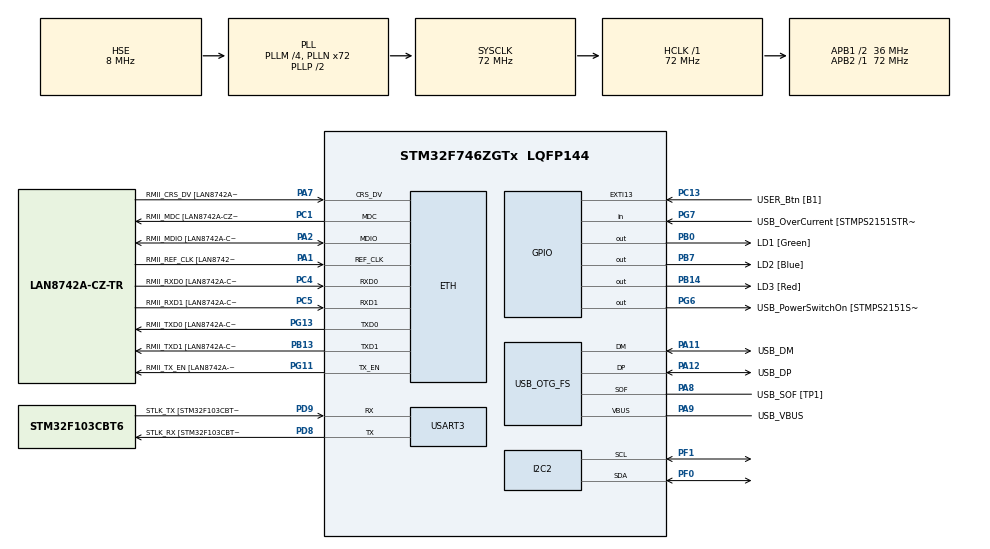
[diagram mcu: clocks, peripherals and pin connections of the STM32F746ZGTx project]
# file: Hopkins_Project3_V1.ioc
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ETH.MediaInterface=HAL_ETH_RMII_MODE
ETH.PHY_Name=LAN8742A_PHY_ADDRESS
ETH.PHY_Value=0
ETH.PhyAddress=0
I2C2.Timing=0x00808CD2
Mcu.Family=STM32F7
Mcu.Name=STM32F746ZGTx
Mcu.Package=LQFP144
NVIC.PriorityGroup=NVIC_PRIORITYGROUP_4
PA1.GPIO_Label=RMII_REF_CLK [LAN8742A-CZ-TR_REFCLK0]
PA1.Mode=RMII
PA1.Signal=ETH_REF_CLK
PA10.GPIO_Label=USB_ID
PA10.Signal=USB_OTG_FS_ID
PA11.GPIO_Label=USB_DM
PA11.Mode=Device_Only
PA11.Signal=USB_OTG_FS_DM
PA12.GPIO_Label=USB_DP
PA12.Mode=Device_Only
PA12.Signal=USB_OTG_FS_DP
PA13.GPIO_Label=TMS
PA13.Mode=Serial_Wire
PA13.Signal=SYS_JTMS-SWDIO
PA14.GPIO_Label=TCK
PA14.Mode=Serial_Wire
PA14.Signal=SYS_JTCK-SWCLK
PA2.GPIO_Label=RMII_MDIO [LAN8742A-CZ-TR_MDIO]
PA2.Mode=RMII
PA2.Signal=ETH_MDIO
PA7.GPIO_Label=RMII_CRS_DV [LAN8742A-CZ-TR_CRS_DV]
PA7.Mode=RMII
PA7.Signal=ETH_CRS_DV
PA8.GPIO_Label=USB_SOF [TP1]
PA8.Mode=Activate_SOF_FS
PA8.Signal=USB_OTG_FS_SOF
PA9.GPIO_Label=USB_VBUS
PA9.Mode=Activate_VBUS
PA9.Signal=USB_OTG_FS_VBUS
PB0.GPIO_Label=LD1 [Green]
PB0.PinState=GPIO_PIN_RESET
PB0.Signal=GPIO_Output
PB13.GPIO_Label=RMII_TXD1 [LAN8742A-CZ-TR_TXD1]
PB13.Mode=RMII
PB13.Signal=ETH_TXD1
PB14.GPIO_Label=LD3 [Red]
PB14.Signal=GPIO_Output
PB3.GPIO_Label=SW0
PB3.Signal=SYS_JTDO-SWO
PB7.GPIO_Label=LD2 [Blue]
PB7.Signal=GPIO_Output
PC1.GPIO_Label=RMII_MDC [LAN8742A-CZ-TR_MDC]
PC1.Mode=RMII
PC1.Signal=ETH_MDC
PC13.GPIO_Label=USER_Btn [B1]
PC13.Signal=GPXTI13
PC14/OSC32_IN.Mode=LSE-External-Oscillator
PC14/OSC32_IN.Signal=RCC_OSC32_IN
PC15/OSC32_OUT.Mode=LSE-External-Oscillator
PC15/OSC32_OUT.Signal=RCC_OSC32_OUT
PC4.GPIO_Label=RMII_RXD0 [LAN8742A-CZ-TR_RXD0]
PC4.Mode=RMII
PC4.Signal=ETH_RXD0
PC5.GPIO_Label=RMII_RXD1 [LAN8742A-CZ-TR_RXD1]
PC5.Mode=RMII
PC5.Signal=ETH_RXD1
PD8.GPIO_Label=STLK_RX [STM32F103CBT6_PA3]
PD8.GPIO_PuPd=GPIO_PULLUP
PD8.Mode=Asynchronous
PD8.Signal=USART3_TX
PD9.GPIO_Label=STLK_TX [STM32F103CBT6_PA2]
PD9.GPIO_PuPd=GPIO_PULLUP
PD9.Mode=Asynchronous
PD9.Signal=USART3_RX
PF0.Mode=I2C
PF0.Signal=I2C2_SDA
PF1.Mode=I2C
PF1.Signal=I2C2_SCL
PG11.GPIO_Label=RMII_TX_EN [LAN8742A-CZ-TR_TXEN]
PG11.Mode=RMII
PG11.Signal=ETH_TX_EN
PG13.GPIO_Label=RMII_TXD0 [LAN8742A-CZ-TR_TXD0]
PG13.Mode=RMII
PG13.Signal=ETH_TXD0
PG6.GPIO_Label=USB_PowerSwitchOn [STMPS2151STR_EN]
PG6.Signal=GPIO_Output
PG7.GPIO_Label=USB_OverCurrent [STMPS2151STR_FAULT]
PG7.Signal=GPIO_Input
PH0/OSC_IN.GPIO_Label=MCO [STM32F103CBT6_PA8]
PH0/OSC_IN.Mode=HSE-External-Clock-Source
PH0/OSC_IN.Signal=RCC_OSC_IN
PH1/OSC_OUT.Mode=HSE-External-Clock-Source
PH1/OSC_OUT.Signal=RCC_OSC_OUT
ProjectManager.HeapSize=0x200
ProjectManager.StackSize=0x400
ProjectManager.TargetToolchain=STM32CubeIDE
RCC.48MHZClocksFreq_Value=24000000
RCC.AHBFreq_Value=72000000
RCC.APB1CLKDivider=RCC_HCLK_DIV2
RCC.APB1Freq_Value=36000000
RCC.APB1TimFreq_Value=72000000
RCC.APB2Freq_Value=72000000
RCC.APB2TimFreq_Value=72000000
RCC.CortexFreq_Value=72000000
RCC.HCLKFreq_Value=72000000
RCC.HSE_VALUE=8000000
RCC.HSI_VALUE=16000000
RCC.PLLM=4
RCC.PLLMUL=RCC_PLL_MUL9
RCC.PLLN=72
RCC.PLLQ=3
RCC.PRESCALERUSB=RCC_USBCLKSOURCE_PLL_DIV1_5
RCC.SYSCLKFreq_VALUE=72000000
RCC.SYSCLKSource=RCC_SYSCLKSOURCE_PLLCLK
RCC.SYSCLKSourceVirtual=RCC_SYSCLKSOURCE_PLLCLK
RCC.USBFreq_Value=48000000
RCC.VCOOutputFreq_Value=144000000
USART3.VirtualMode-Asynchronous=VM_ASYNC
USB_OTG_FS.VirtualMode=Device_Only
board=NUCLEO-F746ZG

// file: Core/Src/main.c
/* USER CODE BEGIN Header */
/**
  ******************************************************************************
  * @file           : main.c
  * @brief          : Main program body
  ******************************************************************************
  * @attention
  *
  * Copyright (c) 2023 STMicroelectronics.
  * All rights reserved.
  *
  * This software is licensed under terms that can be found in the LICENSE file
  * in the root directory of this software component.
  * If no LICENSE file comes with this software, it is provided AS-IS.
  *
  ******************************************************************************
  */
/* USER CODE END Header */
#include "main.h"
#include "string.h"

/* USER CODE BEGIN Includes */
#include "stdio.h"
#include "MPU6050Accelerometer.h"
#include "stm32f7xx_hal.h"
/* USER CODE END Includes */

#if defined ( __ICCARM__ ) /*!< IAR Compiler */
#pragma location=0x2004c000
ETH_DMADescTypeDef  DMARxDscrTab[ETH_RX_DESC_CNT]; /* Ethernet Rx DMA Descriptors */
#pragma location=0x2004c0a0
ETH_DMADescTypeDef  DMATxDscrTab[ETH_TX_DESC_CNT]; /* Ethernet Tx DMA Descriptors */

#elif defined ( __CC_ARM )  /* MDK ARM Compiler */

__attribute__((at(0x2004c000))) ETH_DMADescTypeDef  DMARxDscrTab[ETH_RX_DESC_CNT]; /* Ethernet Rx DMA Descriptors */
__attribute__((at(0x2004c0a0))) ETH_DMADescTypeDef  DMATxDscrTab[ETH_TX_DESC_CNT]; /* Ethernet Tx DMA Descriptors */

#elif defined ( __GNUC__ ) /* GNU Compiler */
ETH_DMADescTypeDef DMARxDscrTab[ETH_RX_DESC_CNT] __attribute__((section(".RxDecripSection"))); /* Ethernet Rx DMA Descriptors */
ETH_DMADescTypeDef DMATxDscrTab[ETH_TX_DESC_CNT] __attribute__((section(".TxDecripSection")));   /* Ethernet Tx DMA Descriptors */

#endif

ETH_TxPacketConfig TxConfig;

ETH_HandleTypeDef heth;

I2C_HandleTypeDef hi2c2;

UART_HandleTypeDef huart3;

PCD_HandleTypeDef hpcd_USB_OTG_FS;

/* USER CODE BEGIN PV */
extern float Ax, Ay, Az, Gx, Gy, Gz;

/* USER CODE END PV */

void SystemClock_Config(void);
static void MX_GPIO_Init(void);
static void MX_ETH_Init(void);
static void MX_USART3_UART_Init(void);
static void MX_USB_OTG_FS_PCD_Init(void);
static void MX_I2C2_Init(void);

int main(void)
{

  /* MCU Configuration--------------------------------------------------------*/

  /* Reset of all peripherals, Initializes the Flash interface and the Systick. */
  HAL_Init();

  /* Configure the system clock */
  SystemClock_Config();

  /* Initialize all configured peripherals */
  MX_GPIO_Init();
  MX_ETH_Init();
  MX_USART3_UART_Init();
  MX_USB_OTG_FS_PCD_Init();
  MX_I2C2_Init();
  /* USER CODE BEGIN 2 */
  /* USER CODE BEGIN 2 */
	MPU6050_init();
	float data[6];
  /* USER CODE END 2 */

  /* Infinite loop */
  /* USER CODE BEGIN WHILE */
  while (1)
  {
      MPU6050_Read_Accel();
	  MPU6050_Read_Gyro();
	  data[0]= Ax;
	  data[1]= Ay;
	  data[2]= Az;
	  data[3]= Gx;
	  data[4]= Gy;
	  data[5]= Gz;
	  HAL_UART_Transmit(&huart3, (uint8_t *)data, sizeof(float)*6, HAL_MAX_DELAY);
	  HAL_Delay(500); // Delay for 1 second
    /* USER CODE END WHILE */

  }
}

void SystemClock_Config(void)
{
  RCC_OscInitTypeDef RCC_OscInitStruct = {0};
  RCC_ClkInitTypeDef RCC_ClkInitStruct = {0};

  /** Configure LSE Drive Capability
  */
  HAL_PWR_EnableBkUpAccess();

  /** Configure the main internal regulator output voltage
  */
  __HAL_RCC_PWR_CLK_ENABLE();
  __HAL_PWR_VOLTAGESCALING_CONFIG(PWR_REGULATOR_VOLTAGE_SCALE3);

  /** Initializes the RCC Oscillators according to the specified parameters
  * in the RCC_OscInitTypeDef structure.
  */
  RCC_OscInitStruct.OscillatorType = RCC_OSCILLATORTYPE_HSE;
  RCC_OscInitStruct.HSEState = RCC_HSE_BYPASS;
  RCC_OscInitStruct.PLL.PLLState = RCC_PLL_ON;
  RCC_OscInitStruct.PLL.PLLSource = RCC_PLLSOURCE_HSE;
  RCC_OscInitStruct.PLL.PLLM = 4;
  RCC_OscInitStruct.PLL.PLLN = 72;
  RCC_OscInitStruct.PLL.PLLP = RCC_PLLP_DIV2;
  RCC_OscInitStruct.PLL.PLLQ = 3;
  if (HAL_RCC_OscConfig(&RCC_OscInitStruct) != HAL_OK)
  {
    Error_Handler();
  }

  /** Initializes the CPU, AHB and APB buses clocks
  */
  RCC_ClkInitStruct.ClockType = RCC_CLOCKTYPE_HCLK|RCC_CLOCKTYPE_SYSCLK
                              |RCC_CLOCKTYPE_PCLK1|RCC_CLOCKTYPE_PCLK2;
  RCC_ClkInitStruct.SYSCLKSource = RCC_SYSCLKSOURCE_PLLCLK;
  RCC_ClkInitStruct.AHBCLKDivider = RCC_SYSCLK_DIV1;
  RCC_ClkInitStruct.APB1CLKDivider = RCC_HCLK_DIV2;
  RCC_ClkInitStruct.APB2CLKDivider = RCC_HCLK_DIV1;

  if (HAL_RCC_ClockConfig(&RCC_ClkInitStruct, FLASH_LATENCY_2) != HAL_OK)
  {
    Error_Handler();
  }
}

static void MX_ETH_Init(void)
{

   static uint8_t MACAddr[6];

  heth.Instance = ETH;
  MACAddr[0] = 0x00;
  MACAddr[1] = 0x80;
  MACAddr[2] = 0xE1;
  MACAddr[3] = 0x00;
  MACAddr[4] = 0x00;
  MACAddr[5] = 0x00;
  heth.Init.MACAddr = &MACAddr[0];
  heth.Init.MediaInterface = HAL_ETH_RMII_MODE;
  heth.Init.TxDesc = DMATxDscrTab;
  heth.Init.RxDesc = DMARxDscrTab;
  heth.Init.RxBuffLen = 1524;

  if (HAL_ETH_Init(&heth) != HAL_OK)
  {
    Error_Handler();
  }

  memset(&TxConfig, 0 , sizeof(ETH_TxPacketConfig));
  TxConfig.Attributes = ETH_TX_PACKETS_FEATURES_CSUM | ETH_TX_PACKETS_FEATURES_CRCPAD;
  TxConfig.ChecksumCtrl = ETH_CHECKSUM_IPHDR_PAYLOAD_INSERT_PHDR_CALC;
  TxConfig.CRCPadCtrl = ETH_CRC_PAD_INSERT;

}

static void MX_I2C2_Init(void)
{

  hi2c2.Instance = I2C2;
  hi2c2.Init.Timing = 0x00808CD2;
  hi2c2.Init.OwnAddress1 = 0;
  hi2c2.Init.AddressingMode = I2C_ADDRESSINGMODE_7BIT;
  hi2c2.Init.DualAddressMode = I2C_DUALADDRESS_DISABLE;
  hi2c2.Init.OwnAddress2 = 0;
  hi2c2.Init.OwnAddress2Masks = I2C_OA2_NOMASK;
  hi2c2.Init.GeneralCallMode = I2C_GENERALCALL_DISABLE;
  hi2c2.Init.NoStretchMode = I2C_NOSTRETCH_DISABLE;
  if (HAL_I2C_Init(&hi2c2) != HAL_OK)
  {
    Error_Handler();
  }

  /** Configure Analogue filter
  */
  if (HAL_I2CEx_ConfigAnalogFilter(&hi2c2, I2C_ANALOGFILTER_ENABLE) != HAL_OK)
  {
    Error_Handler();
  }

  /** Configure Digital filter
  */
  if (HAL_I2CEx_ConfigDigitalFilter(&hi2c2, 0) != HAL_OK)
  {
    Error_Handler();
  }

}

static void MX_USART3_UART_Init(void)
{

  huart3.Instance = USART3;
  huart3.Init.BaudRate = 115200;
  huart3.Init.WordLength = UART_WORDLENGTH_8B;
  huart3.Init.StopBits = UART_STOPBITS_1;
  huart3.Init.Parity = UART_PARITY_NONE;
  huart3.Init.Mode = UART_MODE_TX_RX;
  huart3.Init.HwFlowCtl = UART_HWCONTROL_NONE;
  huart3.Init.OverSampling = UART_OVERSAMPLING_16;
  huart3.Init.OneBitSampling = UART_ONE_BIT_SAMPLE_DISABLE;
  huart3.AdvancedInit.AdvFeatureInit = UART_ADVFEATURE_NO_INIT;
  if (HAL_UART_Init(&huart3) != HAL_OK)
  {
    Error_Handler();
  }

}

static void MX_USB_OTG_FS_PCD_Init(void)
{

  hpcd_USB_OTG_FS.Instance = USB_OTG_FS;
  hpcd_USB_OTG_FS.Init.dev_endpoints = 6;
  hpcd_USB_OTG_FS.Init.speed = PCD_SPEED_FULL;
  hpcd_USB_OTG_FS.Init.dma_enable = DISABLE;
  hpcd_USB_OTG_FS.Init.phy_itface = PCD_PHY_EMBEDDED;
  hpcd_USB_OTG_FS.Init.Sof_enable = ENABLE;
  hpcd_USB_OTG_FS.Init.low_power_enable = DISABLE;
  hpcd_USB_OTG_FS.Init.lpm_enable = DISABLE;
  hpcd_USB_OTG_FS.Init.vbus_sensing_enable = ENABLE;
  hpcd_USB_OTG_FS.Init.use_dedicated_ep1 = DISABLE;
  if (HAL_PCD_Init(&hpcd_USB_OTG_FS) != HAL_OK)
  {
    Error_Handler();
  }

}

static void MX_GPIO_Init(void)
{
  GPIO_InitTypeDef GPIO_InitStruct = {0};

  /* GPIO Ports Clock Enable */
  __HAL_RCC_GPIOC_CLK_ENABLE();
  __HAL_RCC_GPIOF_CLK_ENABLE();
  __HAL_RCC_GPIOH_CLK_ENABLE();
  __HAL_RCC_GPIOA_CLK_ENABLE();
  __HAL_RCC_GPIOB_CLK_ENABLE();
  __HAL_RCC_GPIOD_CLK_ENABLE();
  __HAL_RCC_GPIOG_CLK_ENABLE();

  /*Configure GPIO pin Output Level */
  HAL_GPIO_WritePin(GPIOB, LD1_Pin|LD3_Pin|LD2_Pin, GPIO_PIN_RESET);

  /*Configure GPIO pin Output Level */
  HAL_GPIO_WritePin(USB_PowerSwitchOn_GPIO_Port, USB_PowerSwitchOn_Pin, GPIO_PIN_RESET);

  /*Configure GPIO pin : USER_Btn_Pin */
  GPIO_InitStruct.Pin = USER_Btn_Pin;
  GPIO_InitStruct.Mode = GPIO_MODE_IT_RISING;
  GPIO_InitStruct.Pull = GPIO_NOPULL;
  HAL_GPIO_Init(USER_Btn_GPIO_Port, &GPIO_InitStruct);

  /*Configure GPIO pins : LD1_Pin LD3_Pin LD2_Pin */
  GPIO_InitStruct.Pin = LD1_Pin|LD3_Pin|LD2_Pin;
  GPIO_InitStruct.Mode = GPIO_MODE_OUTPUT_PP;
  GPIO_InitStruct.Pull = GPIO_NOPULL;
  GPIO_InitStruct.Speed = GPIO_SPEED_FREQ_LOW;
  HAL_GPIO_Init(GPIOB, &GPIO_InitStruct);

  /*Configure GPIO pin : USB_PowerSwitchOn_Pin */
  GPIO_InitStruct.Pin = USB_PowerSwitchOn_Pin;
  GPIO_InitStruct.Mode = GPIO_MODE_OUTPUT_PP;
  GPIO_InitStruct.Pull = GPIO_NOPULL;
  GPIO_InitStruct.Speed = GPIO_SPEED_FREQ_LOW;
  HAL_GPIO_Init(USB_PowerSwitchOn_GPIO_Port, &GPIO_InitStruct);

  /*Configure GPIO pin : USB_OverCurrent_Pin */
  GPIO_InitStruct.Pin = USB_OverCurrent_Pin;
  GPIO_InitStruct.Mode = GPIO_MODE_INPUT;
  GPIO_InitStruct.Pull = GPIO_NOPULL;
  HAL_GPIO_Init(USB_OverCurrent_GPIO_Port, &GPIO_InitStruct);

}

void Error_Handler(void)
{
  __disable_irq();
  while (1)
  {
  }
}
